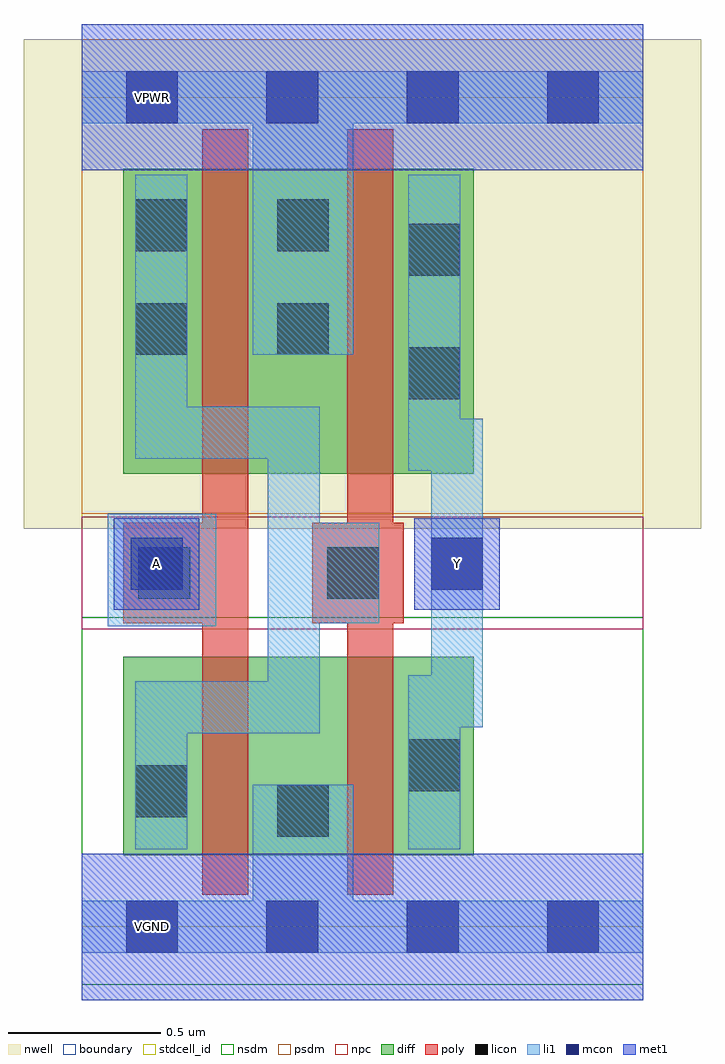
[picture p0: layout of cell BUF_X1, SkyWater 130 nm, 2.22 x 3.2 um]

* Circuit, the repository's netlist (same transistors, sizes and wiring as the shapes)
.subckt BUF_X1 A Y VPWR VGND VNB
M0 yb A VPWR nwell_i sky130_fd_pr__pfet_01v8 L=0.15u W=1.0u
M1 yb A VGND VNB sky130_fd_pr__nfet_01v8 L=0.15u W=0.65u
M2 Y yb VPWR nwell_i sky130_fd_pr__pfet_01v8 L=0.15u W=1.0u
M3 Y yb VGND VNB sky130_fd_pr__nfet_01v8 L=0.15u W=0.65u
.ends

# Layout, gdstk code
import gdstk
lib = gdstk.Library(unit=1e-6, precision=1e-09)
def R(c, l, rs):  # rectangles x0, y0, x1, y1
    for r in rs: c.add(gdstk.rectangle(r[:2], r[2:], *l))
def A(c, l, x, y, w, h, nx, ny, dx, dy):  # array of equal rectangles
    R(c, l, [(x+i*dx, y+j*dy, x+i*dx+w, y+j*dy+h) for i in range(nx) for j in range(ny)])
nwell = (64, 20)
diff = (65, 20)
poly = (66, 20)
licon = (66, 44)
li1 = (67, 20)
mcon = (67, 44)
met1 = (68, 20)
stdcell_id = (81, 4)
nsdm = (93, 44)
psdm = (94, 20)
npc = (95, 20)
boundary = (235, 4)

buf_x1 = lib.new_cell('BUF_X1')
R(buf_x1, nwell, [(-0.19,1.305,2.03,2.91)])
R(buf_x1, diff, [(0.135,0.235,1.285,0.885), (0.135,1.485,1.285,2.485)])
R(buf_x1, poly, [(0.395,0.105,0.545,2.615), (0.87,0.105,1.02,2.615), (0.135,0.995,0.395,1.325), (0.755,0.995,1.055,1.325)])
R(buf_x1, licon, [(0.64,0.295,0.81,0.465), (0.175,0.36,0.345,0.53), (1.07,0.445,1.24,0.615), (0.185,1.075,0.355,1.245), (0.805,1.075,0.975,1.245), (1.07,1.73,1.24,1.9), (0.175,1.875,0.345,2.045), (0.64,1.875,0.81,2.045), (1.07,2.135,1.24,2.305), (0.175,2.215,0.345,2.385), (0.64,2.215,0.81,2.385)])
R(buf_x1, li1, [(0,-0.085,1.84,0.085), (0.56,0.085,0.89,0.465), (0.175,0.255,0.345,0.805), (1.07,0.255,1.24,0.825), (0.175,0.635,0.78,0.805), (1.07,0.655,1.315,0.825), (0.61,0.805,0.78,1.535), (1.145,0.825,1.315,1.495), (0.085,0.985,0.44,1.355), (0.725,0.995,0.975,1.325), (1.07,1.495,1.315,1.665), (1.07,1.495,1.24,2.465), (0.175,1.535,0.78,1.705), (0.175,1.535,0.345,2.465), (0.56,1.875,0.89,2.635), (0,2.635,1.84,2.805)])
A(buf_x1, mcon, 0.145, -0.085, 0.17, 0.17, 4, 2, 0.46, 2.72)
R(buf_x1, mcon, [(0.16,1.105,0.33,1.275), (1.145,1.105,1.315,1.275)])
R(buf_x1, met1, [(0,-0.24,1.84,0.24), (0.105,1.04,0.385,1.34), (1.09,1.04,1.37,1.34), (0,2.48,1.84,2.96)])
R(buf_x1, stdcell_id, [(0,0,1.84,2.72)])
R(buf_x1, nsdm, [(0,-0.19,1.84,1.015)])
R(buf_x1, psdm, [(0,1.355,1.84,2.91)])
R(buf_x1, npc, [(0,0.975,1.84,1.345)])
R(buf_x1, boundary, [(0,0,1.84,2.72)])
buf_x1.add(gdstk.Label('VPWR', (0.23,2.72), layer=68, texttype=5))
buf_x1.add(gdstk.Label('VGND', (0.23,0), layer=68, texttype=5))
buf_x1.add(gdstk.Label('A', (0.245,1.19), layer=68, texttype=5))
buf_x1.add(gdstk.Label('Y', (1.23,1.19), layer=68, texttype=5))

lib.write_gds('BUF_X1.gds')
